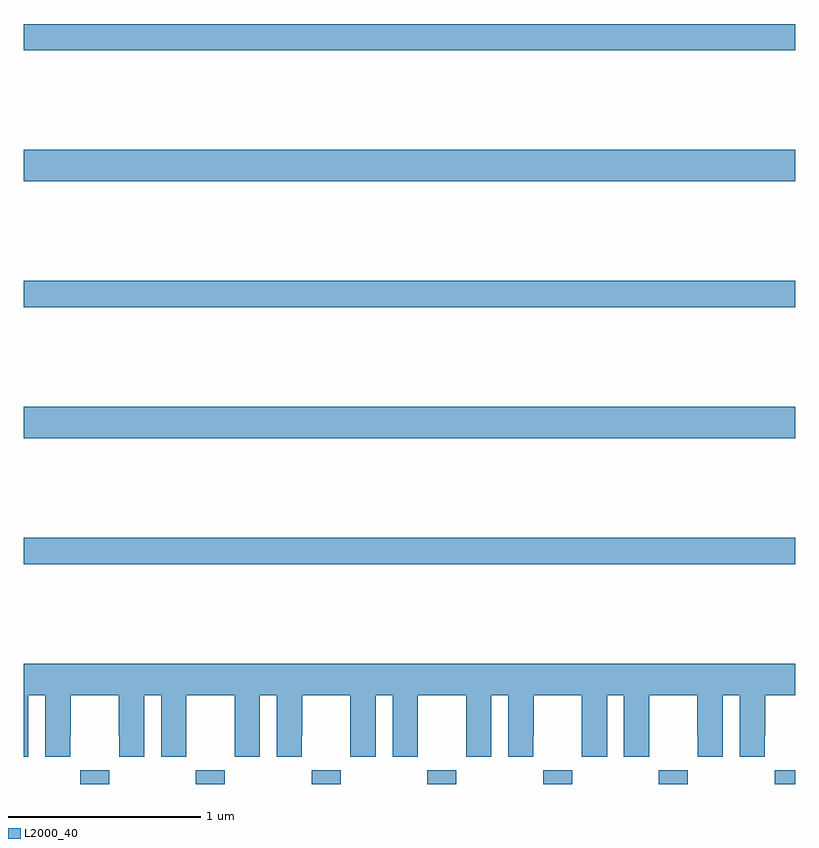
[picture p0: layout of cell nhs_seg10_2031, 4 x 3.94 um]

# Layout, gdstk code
import gdstk
lib = gdstk.Library(unit=1e-6, precision=1e-09)
def R(c, l, rs):  # rectangles x0, y0, x1, y1
    for r in rs: c.add(gdstk.rectangle(r[:2], r[2:], *l))
def A(c, l, x, y, w, h, nx, ny, dx, dy):  # array of equal rectangles
    R(c, l, [(x+i*dx, y+j*dy, x+i*dx+w, y+j*dy+h) for i in range(nx) for j in range(ny)])
def P(c, l, *ps):  # polygons
    for p in ps: c.add(gdstk.Polygon(p, *l))
L2000_40 = (2000, 40)

nhs_seg10_2031 = lib.new_cell('nhs_seg10_2031')
A(nhs_seg10_2031, L2000_40, 217.293, 1322.5, 0.15, 0.072, 6, 1, 0.6, 0)
A(nhs_seg10_2031, L2000_40, 217, 1323.64, 4, 0.136, 1, 3, 0, 1.332)
R(nhs_seg10_2031, L2000_40, [(220.893,1322.5,221,1322.572), (217,1324.292,221,1324.456), (217,1325.624,221,1325.788)])
P(nhs_seg10_2031, L2000_40, [(217.024,1322.96),(217.112,1322.96),(217.112,1322.64),(217.242,1322.64),(217.242,1322.752),(217.243,1322.752),(217.243,1322.96),(217.493,1322.96),(217.493,1322.752),(217.494,1322.752),(217.494,1322.64),(217.624,1322.64),(217.624,1322.96),(217.712,1322.96),(217.712,1322.64),(217.842,1322.64),(217.842,1322.752),(217.843,1322.752),(217.843,1322.96),(218.093,1322.96),(218.093,1322.752),(218.094,1322.752),(218.094,1322.64),(218.224,1322.64),(218.224,1322.96),(218.312,1322.96),(218.312,1322.64),(218.442,1322.64),(218.442,1322.752),(218.443,1322.752),(218.443,1322.96),(218.693,1322.96),(218.693,1322.752),(218.694,1322.752),(218.694,1322.64),(218.824,1322.64),(218.824,1322.96),(218.912,1322.96),(218.912,1322.64),(219.042,1322.64),(219.042,1322.752),(219.043,1322.752),(219.043,1322.96),(219.293,1322.96),(219.293,1322.752),(219.294,1322.752),(219.294,1322.64),(219.424,1322.64),(219.424,1322.96),(219.512,1322.96),(219.512,1322.64),(219.642,1322.64),(219.642,1322.752),(219.643,1322.752),(219.643,1322.96),(219.893,1322.96),(219.893,1322.752),(219.894,1322.752),(219.894,1322.64),(220.024,1322.64),(220.024,1322.96),(220.112,1322.96),(220.112,1322.64),(220.242,1322.64),(220.242,1322.752),(220.243,1322.752),(220.243,1322.96),(220.493,1322.96),(220.493,1322.752),(220.494,1322.752),(220.494,1322.64),(220.624,1322.64),(220.624,1322.96),(220.712,1322.96),(220.712,1322.64),(220.842,1322.64),(220.842,1322.752),(220.843,1322.752),(220.843,1322.96),(221,1322.96),(221,1323.124),(217,1323.124),(217,1322.64),(217.024,1322.64)])

lib.write_gds('nhs_seg10_2031.gds')
